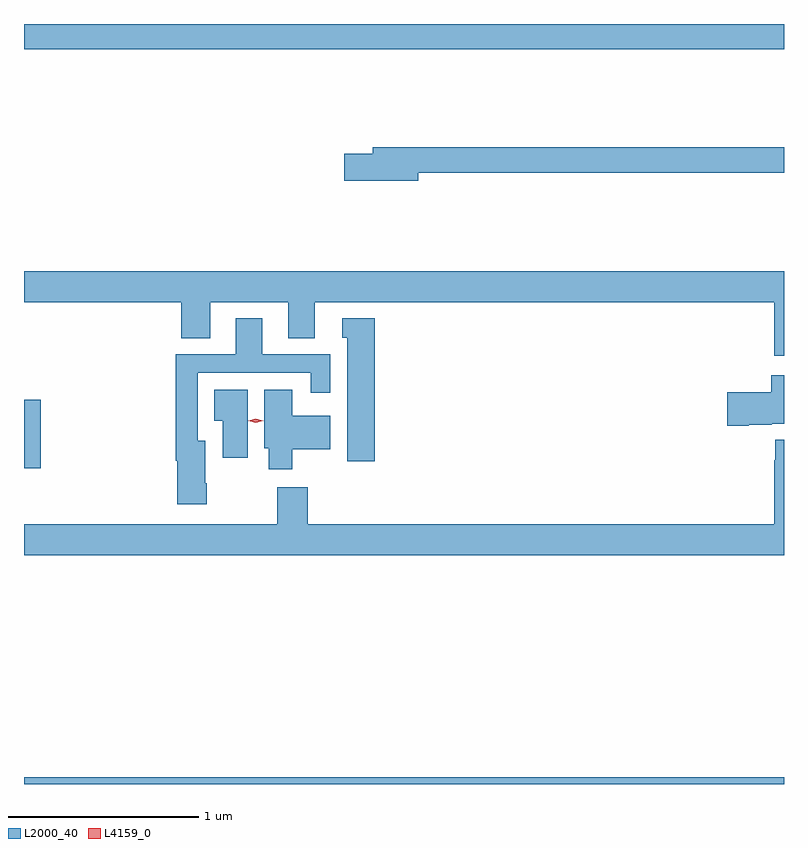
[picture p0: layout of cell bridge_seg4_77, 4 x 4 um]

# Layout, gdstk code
import gdstk
lib = gdstk.Library(unit=1e-6, precision=1e-09)
def R(c, l, rs):  # rectangles x0, y0, x1, y1
    for r in rs: c.add(gdstk.rectangle(r[:2], r[2:], *l))
def P(c, l, *ps):  # polygons
    for p in ps: c.add(gdstk.Polygon(p, *l))
L2000_40 = (2000, 40)
L4159_0 = (4159, 0)

bridge_seg4_77 = lib.new_cell('bridge_seg4_77')
R(bridge_seg4_77, L2000_40, [(472.008,816.928,476.008,816.964), (472.008,818.59,472.097,818.95), (472.008,820.796,476.008,820.928)])
P(bridge_seg4_77, L2000_40, [(474.082,820.144),(476.008,820.144),(476.008,820.28),(473.843,820.28),(473.843,820.244),(473.694,820.244),(473.694,820.102),(474.082,820.102)],
  [(476.008,819.628),(472.008,819.628),(472.008,819.464),(472.835,819.464),(472.835,819.274),(472.987,819.274),(472.987,819.464),(473.399,819.464),(473.399,819.274),(473.539,819.274),(473.539,819.464),(475.956,819.464),(475.956,819.183),(476.008,819.183)],
  [(472.971,818.512),(472.963,818.512),(472.963,818.734),(472.923,818.734),(472.923,819.093),(473.516,819.093),(473.516,818.988),(473.62,818.988),(473.62,819.189),(473.263,819.189),(473.263,819.379),(473.123,819.379),(473.123,819.189),(472.807,819.189),(472.807,818.63),(472.814,818.63),(472.814,818.4),(472.971,818.4)],
  [(473.855,819.379),(473.684,819.379),(473.684,819.276),(473.708,819.276),(473.708,818.628),(473.855,818.628)],
  [(475.822,818.819),(475.944,818.819),(475.944,818.825),(476.008,818.825),(476.008,819.079),(475.94,819.079),(475.94,818.991),(475.71,818.991),(475.71,818.813),(475.822,818.813)],
  [(473.185,819.004),(473.008,819.004),(473.008,818.84),(473.054,818.84),(473.054,818.646),(473.185,818.646)],
  [(473.419,818.69),(473.62,818.69),(473.62,818.866),(473.419,818.866),(473.419,819.004),(473.273,819.004),(473.273,818.694),(473.297,818.694),(473.297,818.585),(473.419,818.585)],
  [(476.008,818.74),(475.963,818.74),(475.963,818.633),(475.956,818.633),(475.956,818.296),(473.501,818.296),(473.501,818.491),(473.341,818.491),(473.341,818.296),(472.008,818.296),(472.008,818.132),(476.008,818.132)])
P(bridge_seg4_77, L4159_0, [(473.228,818.83),(473.188,818.84),(473.188,818.84),(473.188,818.841),(473.228,818.85),(473.268,818.839),(473.268,818.839),(473.268,818.839)])

lib.write_gds('bridge_seg4_77.gds')
